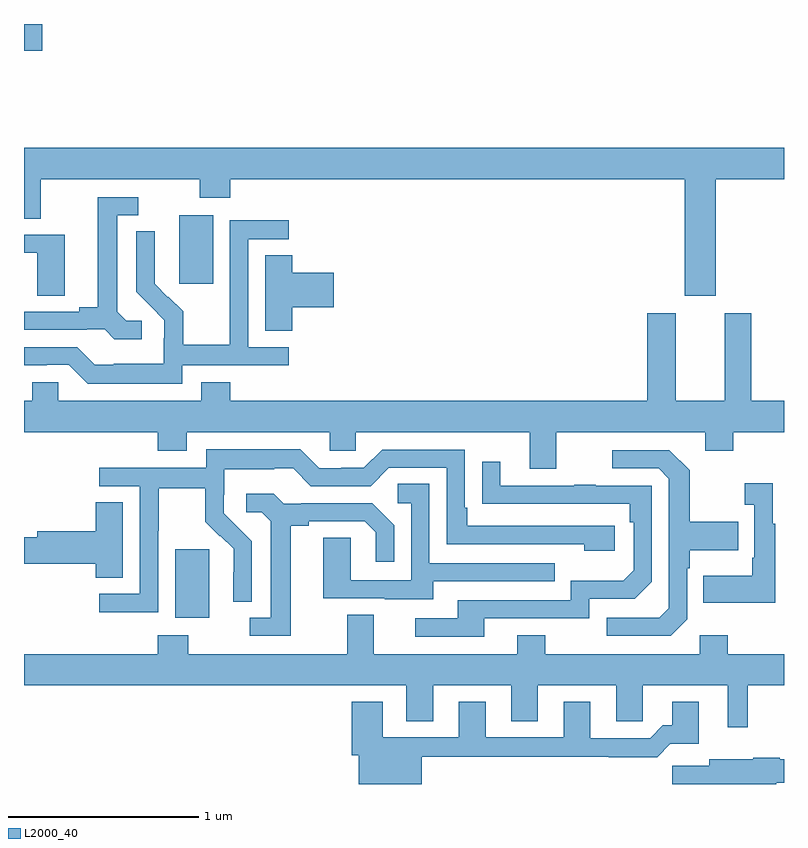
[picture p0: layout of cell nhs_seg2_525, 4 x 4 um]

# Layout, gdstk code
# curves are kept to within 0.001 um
import gdstk
lib = gdstk.Library(unit=1e-6, precision=1e-09)
def R(c, l, rs):  # rectangles x0, y0, x1, y1
    for r in rs: c.add(gdstk.rectangle(r[:2], r[2:], *l))
def P(c, l, *ps):  # polygons
    for p in ps: c.add(gdstk.Polygon(p, *l))
L2000_40 = (2000, 40)

nhs_seg2_525 = lib.new_cell('nhs_seg2_525')
R(nhs_seg2_525, L2000_40, [(137.795,630.674,137.974,631.035), (137.816,632.433,137.995,632.794), (137,633.659,137.095,633.8)])
P(nhs_seg2_525, L2000_40, [(140.641,632.984),(141,632.984),(141,633.148),(137,633.148),(137,632.776),(137.089,632.776),(137.089,632.984),(137.926,632.984),(137.926,632.885),(138.086,632.885),(138.086,632.984),(140.477,632.984),(140.477,632.37),(140.641,632.37)],
  [(137.62,632.238),(137.538,632.238),(137.491,632.285),(137.491,632.793),(137.602,632.793),(137.602,632.889),(137.387,632.889),(137.387,632.309),(137.291,632.309),(137.291,632.286),(137,632.286),(137,632.19),(137.33,632.19),(137.33,632.193),(137.424,632.193),(137.476,632.141),(137.62,632.141)],
  [(137.832,632.004),(138.394,632.004),(138.394,632.1),(138.18,632.1),(138.18,632.667),(138.394,632.667),(138.394,632.766),(138.084,632.766),(138.084,632.336),(138.082,632.336),(138.082,632.113),(137.837,632.113),(137.837,632.287),(137.76,632.364),(137.757,632.361),(137.687,632.432),(137.688,632.708),(137.592,632.708),(137.592,632.39),(137.738,632.242),(137.738,632.145),(137.736,632.145),(137.736,632.011),(137.473,632.011),(137.473,632.007),(137.373,632.007),(137.28,632.1),(137,632.1),(137,632.003),(137.12,632.004),(137.12,632.007),(137.235,632.007),(137.335,631.907),(137.832,631.907)],
  [(137.215,632.691),(137,632.691),(137,632.595),(137.07,632.595),(137.07,632.371),(137.215,632.371)],
  [(138.413,632.309),(138.631,632.309),(138.631,632.492),(138.413,632.492),(138.413,632.582),(138.269,632.582),(138.269,632.185),(138.413,632.185)],
  [(139.801,631.652),(140.585,631.652),(140.585,631.553),(140.733,631.553),(140.733,631.652),(141,631.652),(141,631.816),(140.827,631.816),(140.827,632.278),(140.687,632.278),(140.687,631.816),(140.431,631.816),(140.431,632.278),(140.279,632.278),(140.279,631.816),(138.086,631.816),(138.086,631.915),(137.933,631.915),(137.933,631.816),(137.181,631.816),(137.181,631.914),(137.043,631.914),(137.043,631.816),(137,631.816),(137,631.652),(137.705,631.652),(137.705,631.553),(137.857,631.553),(137.857,631.652),(138.609,631.652),(138.609,631.554),(138.747,631.554),(138.747,631.652),(139.661,631.652),(139.661,631.458),(139.801,631.458)],
  [(137.706,631.132),(137.709,631.132),(137.709,631.356),(137.953,631.356),(137.953,631.181),(138.03,631.104),(138.033,631.107),(138.104,631.037),(138.104,630.914),(138.102,630.914),(138.102,630.76),(138.198,630.76),(138.198,631.078),(138.052,631.226),(138.052,631.323),(138.054,631.323),(138.054,631.457),(138.317,631.457),(138.317,631.461),(138.417,631.461),(138.51,631.368),(138.825,631.368),(138.921,631.464),(139.224,631.464),(139.224,631.062),(139.949,631.062),(139.949,631.028),(140.11,631.028),(140.11,631.158),(139.333,631.158),(139.333,631.255),(139.32,631.255),(139.32,631.56),(138.885,631.56),(138.789,631.464),(138.671,631.464),(138.671,631.461),(138.555,631.461),(138.455,631.561),(137.958,631.561),(137.958,631.464),(137.397,631.464),(137.397,631.368),(137.61,631.368),(137.61,630.801),(137.397,630.801),(137.397,630.703),(137.706,630.703)],
  [(140.49,630.666),(140.49,630.935),(140.503,630.935),(140.503,631.031),(140.759,631.031),(140.759,631.179),(140.503,631.179),(140.503,631.451),(140.397,631.557),(140.097,631.557),(140.097,631.461),(140.34,631.461),(140.394,631.407),(140.394,630.726),(140.343,630.675),(140.067,630.675),(140.067,630.579),(140.403,630.579)],
  [(139.423,630.672),(139.974,630.672),(139.974,630.774),(140.214,630.774),(140.304,630.864),(140.304,631.371),(140.009,631.371),(140.009,631.376),(139.897,631.376),(139.897,631.371),(139.507,631.371),(139.507,631.495),(139.411,631.495),(139.411,631.276),(140.188,631.275),(140.188,631.178),(140.208,631.178),(140.208,630.924),(140.155,630.871),(139.878,630.871),(139.878,630.768),(139.283,630.768),(139.283,630.672),(139.059,630.672),(139.059,630.576),(139.423,630.576)],
  [(140.953,631.171),(140.941,631.171),(140.941,631.384),(140.793,631.384),(140.793,631.271),(140.844,631.271),(140.844,630.991),(140.832,630.991),(140.832,630.895),(140.575,630.895),(140.575,630.755),(140.953,630.755)],
  [(139.153,630.867),(139.793,630.867),(139.793,630.963),(139.134,630.963),(139.134,631.379),(138.966,631.379),(138.966,631.278),(139.038,631.278),(139.038,630.873),(138.72,630.873),(138.72,631.097),(138.575,631.097),(138.575,630.777),(138.899,630.777),(138.899,630.773),(139.153,630.773)],
  [(138.403,631.16),(138.499,631.16),(138.499,631.182),(138.794,631.182),(138.851,631.125),(138.851,630.969),(138.948,630.969),(138.948,631.162),(138.832,631.278),(138.46,631.278),(138.46,631.275),(138.366,631.275),(138.314,631.327),(138.171,631.327),(138.171,631.23),(138.252,631.23),(138.299,631.183),(138.299,630.675),(138.189,630.675),(138.189,630.579),(138.403,630.579)],
  [(137.521,631.283),(137.378,631.283),(137.378,631.13),(137.069,631.13),(137.069,631.1),(137,631.1),(137,630.958),(137.378,630.958),(137.378,630.886),(137.521,630.886)],
  [(140.809,630.32),(141,630.32),(141,630.484),(140.703,630.484),(140.703,630.583),(140.556,630.583),(140.556,630.484),(139.743,630.484),(139.743,630.583),(139.595,630.583),(139.595,630.484),(138.841,630.484),(138.841,630.692),(138.701,630.692),(138.701,630.484),(137.865,630.484),(137.865,630.583),(137.705,630.583),(137.705,630.484),(137,630.484),(137,630.32),(139.013,630.32),(139.013,630.13),(139.153,630.13),(139.153,630.32),(139.565,630.32),(139.565,630.13),(139.705,630.13),(139.705,630.32),(140.117,630.32),(140.117,630.13),(140.256,630.13),(140.256,630.32),(140.705,630.32),(140.705,630.099),(140.809,630.099)],
  [(139.093,629.944),(140.077,629.944),(140.077,629.942),(140.333,629.942),(140.402,630.011),(140.551,630.011),(140.551,630.232),(140.411,630.232),(140.411,630.109),(140.362,630.109),(140.295,630.042),(139.981,630.042),(139.981,630.232),(139.841,630.232),(139.841,630.045),(139.429,630.045),(139.429,630.232),(139.289,630.232),(139.289,630.045),(138.889,630.045),(138.889,630.232),(138.725,630.232),(138.725,629.952),(138.761,629.952),(138.761,629.8),(139.093,629.8)],
  [(140.958,629.807),(141,629.807),(141,629.929),(140.978,629.929),(140.978,629.937),(140.838,629.937),(140.838,629.929),(140.606,629.929),(140.606,629.897),(140.412,629.897),(140.412,629.8),(140.958,629.8)])

lib.write_gds('nhs_seg2_525.gds')
